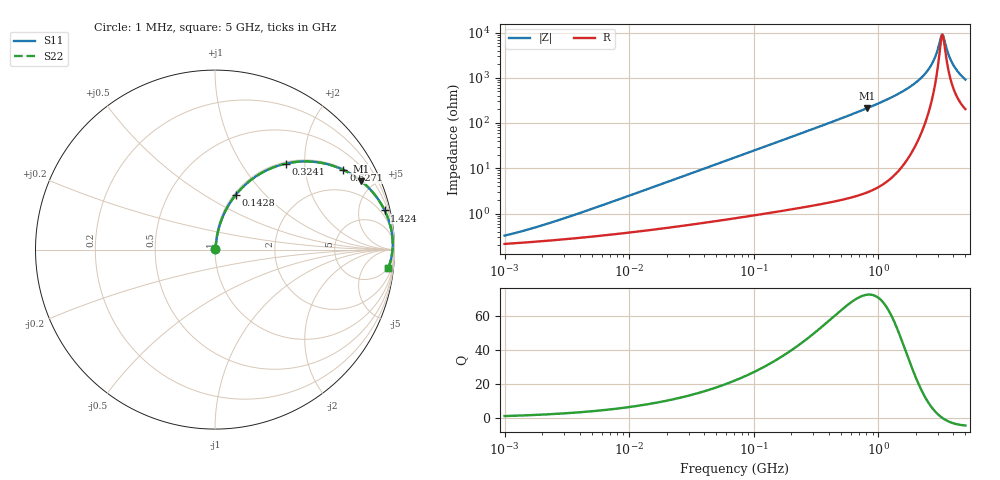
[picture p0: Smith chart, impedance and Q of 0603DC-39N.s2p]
# MHz  S  MA  R  50
!Freq  MagS11  AngS11  MagS21  AngS21  MagS12  AngS12  MagS22  AngS22
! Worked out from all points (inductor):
!   801 points, 1 MHz to 5 GHz, reference 50 ohm
!   read as one part in series: L = 39 nH near 3.438 MHz
!   highest Q = 72.6 at 809.7 MHz (marker M1), where L = 41.6 nH
!   self-resonance near 3.266 GHz
!   S11 on the Smith chart (normalised r, x): 1 MHz: 1.00, +0.00; 142.8 MHz: 1.02, +0.70; 324.1 MHz: 1.03, +1.60; 627.1 MHz: 1.05, +3.19; 1.424 GHz: 1.16, +8.61; 5 GHz: 5, -18
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1  0.00324 48.9  0.9979 -0.1  0.9979 -0.1  0.00324 48.9
4.16464  0.01059 73.4  0.997 -0.6  0.997 -0.6  0.01059 73.4
17.16055  0.04207 81.4  0.9946 -2.4  0.9946 -2.4  0.04207 81.4
70.71068  0.1697 77.7  0.9779 -9.8  0.9779 -9.8  0.1697 77.7
142.7743  0.3279 69.1  0.9349 -19.1  0.9349 -19.1  0.3279 69.1
294.4845  0.5828 53.2  0.8008 -35.6  0.8008 -35.6  0.5828 53.2
324.0977  0.6199 50.6  0.7727 -38.3  0.7727 -38.3  0.6199 50.6
450.8281  0.7418 41.2  0.6585 -47.9  0.6585 -47.9  0.7418 41.2
627.1134  0.8419 31.8  0.5276 -57.3  0.5276 -57.3  0.8419 31.8
809.6833  0.8992 25.2  0.4253 -64.0  0.4253 -64.0  0.8992 25.2
1213.434  0.9564 16.1  0.2772 -73.0  0.2772 -73.0  0.9564 16.1
1423.547  0.97 13.0  0.2252 -75.9  0.2252 -75.9  0.97 13.0
1938.472  0.9858 7.7  0.1346 -80.1  0.1346 -80.1  0.9858 7.7
2424.139  0.9904 4.3  0.07536 -80.6  0.07536 -80.6  0.9904 4.3
2783.978  0.9909 2.3  0.0409 -76.0  0.0409 -76.0  0.9909 2.3
3163.373  0.9896 0.5  0.01334 -38.8  0.01334 -38.8  0.9896 0.5
3266.04  0.9891 0.0  0.01093 -3.2  0.01093 -3.2  0.9891 0.0
3372.039  0.9884 -0.4  0.0136 31.5  0.0136 31.5  0.9884 -0.4
3671.828  0.9862 -1.6  0.03104 62.7  0.03104 62.7  0.9862 -1.6
3955.928  0.9835 -2.6  0.04866 68.9  0.04866 68.9  0.9835 -2.6
4447.43  0.9781 -4.3  0.07726 71.4  0.07726 71.4  0.9781 -4.3
5000  0.9709 -6.0  0.1065 71.2  0.1065 71.2  0.9709 -6.0
